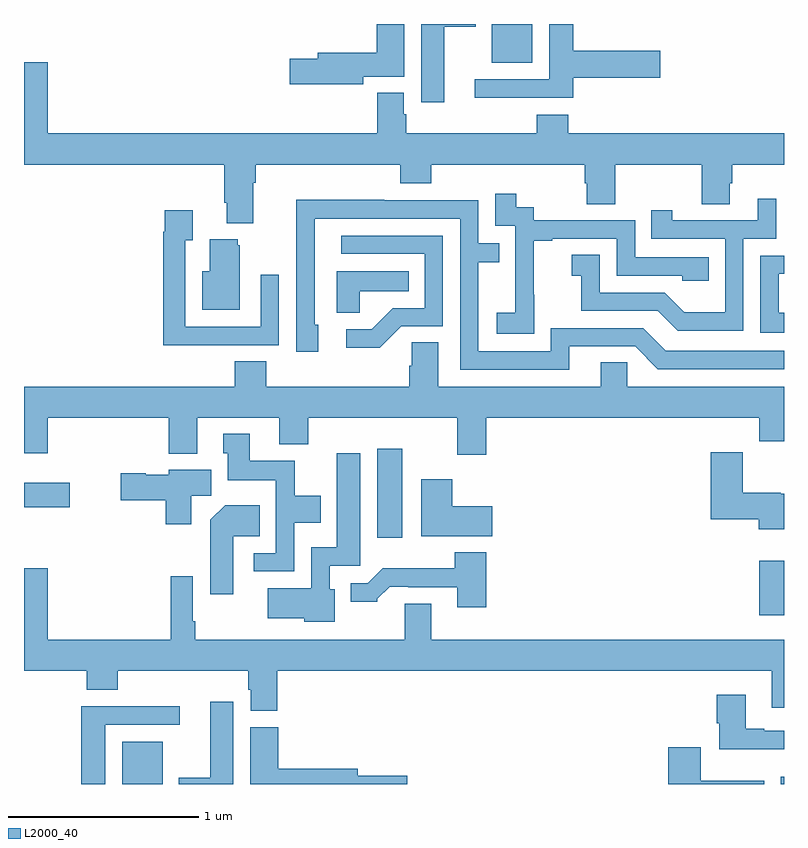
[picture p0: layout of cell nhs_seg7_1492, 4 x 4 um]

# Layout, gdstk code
import gdstk
lib = gdstk.Library(unit=1e-6, precision=1e-09)
def R(c, l, rs):  # rectangles x0, y0, x1, y1
    for r in rs: c.add(gdstk.rectangle(r[:2], r[2:], *l))
def P(c, l, *ps):  # polygons
    for p in ps: c.add(gdstk.Polygon(p, *l))
L2000_40 = (2000, 40)

nhs_seg7_1492 = lib.new_cell('nhs_seg7_1492')
R(nhs_seg7_1492, L2000_40, [(213.518,1020,213.73,1020.223), (216.983,1020,217,1020.037), (216.869,1020.888,217,1021.174), (214.859,1021.296,214.99,1021.765), (213,1021.456,213.241,1021.585), (215.462,1023.797,215.674,1024)])
P(nhs_seg7_1492, L2000_40, [(215.212,1023.986),(215.377,1023.986),(215.377,1024),(215.09,1024),(215.09,1023.588),(215.212,1023.588)],
  [(214.786,1023.722),(215.002,1023.722),(215.002,1024),(214.856,1024),(214.856,1023.848),(214.547,1023.848),(214.547,1023.818),(214.398,1023.818),(214.398,1023.683),(214.786,1023.683)],
  [(215.891,1023.718),(216.349,1023.718),(216.349,1023.86),(215.891,1023.86),(215.891,1024),(215.765,1024),(215.765,1023.708),(215.373,1023.708),(215.373,1023.611),(215.891,1023.611)],
  [(215.699,1023.523),(215.699,1023.424),(215.012,1023.424),(215.012,1023.525),(214.999,1023.525),(214.999,1023.637),(214.859,1023.637),(214.859,1023.424),(213.124,1023.424),(213.124,1023.799),(213,1023.799),(213,1023.26),(214.055,1023.26),(214.055,1023.058),(214.067,1023.058),(214.067,1022.951),(214.207,1022.951),(214.207,1023.164),(214.22,1023.164),(214.22,1023.26),(214.979,1023.26),(214.979,1023.161),(215.144,1023.161),(215.144,1023.26),(215.951,1023.26),(215.951,1023.162),(215.963,1023.162),(215.963,1023.052),(216.111,1023.052),(216.111,1023.26),(216.568,1023.26),(216.568,1023.052),(216.715,1023.052),(216.715,1023.162),(216.728,1023.162),(216.728,1023.26),(217,1023.26),(217,1023.424),(215.864,1023.424),(215.864,1023.523)],
  [(215.685,1022.575),(215.684,1022.575),(215.684,1022.859),(215.779,1022.859),(215.779,1022.871),(216.12,1022.871),(216.12,1022.676),(216.465,1022.676),(216.465,1022.649),(216.605,1022.649),(216.605,1022.772),(216.216,1022.772),(216.216,1022.967),(215.682,1022.967),(215.682,1023.036),(215.59,1023.036),(215.59,1023.106),(215.481,1023.106),(215.481,1022.937),(215.586,1022.937),(215.586,1022.708),(215.585,1022.708),(215.585,1022.479),(215.487,1022.479),(215.487,1022.369),(215.685,1022.369)],
  [(216.786,1022.871),(216.96,1022.871),(216.96,1023.079),(216.863,1023.079),(216.863,1022.967),(216.412,1022.967),(216.412,1023.019),(216.301,1023.019),(216.301,1022.871),(216.69,1022.871),(216.69,1022.482),(216.476,1022.482),(216.372,1022.586),(216.03,1022.586),(216.03,1022.785),(215.883,1022.785),(215.883,1022.675),(215.932,1022.675),(215.932,1022.49),(216.335,1022.49),(216.44,1022.385),(216.786,1022.385)],
  [(215.869,1022.304),(216.216,1022.304),(216.336,1022.184),(217,1022.184),(217,1022.28),(216.378,1022.28),(216.258,1022.4),(215.772,1022.4),(215.772,1022.277),(215.391,1022.277),(215.391,1022.746),(215.501,1022.746),(215.501,1022.847),(215.391,1022.847),(215.391,1023.072),(214.895,1023.072),(214.895,1023.074),(214.432,1023.074),(214.432,1022.767),(214.434,1022.767),(214.434,1022.274),(214.549,1022.274),(214.549,1022.418),(214.53,1022.418),(214.53,1022.976),(215.295,1022.976),(215.295,1022.181),(215.869,1022.181)],
  [(214.025,1022.31),(214.341,1022.31),(214.341,1022.68),(214.245,1022.68),(214.245,1022.406),(213.849,1022.406),(213.849,1022.863),(213.889,1022.863),(213.889,1023.019),(213.741,1023.019),(213.741,1022.906),(213.733,1022.906),(213.733,1022.309),(214.025,1022.309)],
  [(214.986,1022.409),(215.205,1022.409),(215.205,1022.886),(214.671,1022.886),(214.671,1022.79),(215.109,1022.79),(215.109,1022.505),(214.94,1022.505),(214.829,1022.394),(214.695,1022.394),(214.695,1022.297),(214.873,1022.297)],
  [(214.135,1022.835),(214.124,1022.835),(214.124,1022.866),(213.977,1022.866),(213.977,1022.698),(213.938,1022.698),(213.938,1022.495),(214.135,1022.495)],
  [(217,1022.481),(216.973,1022.481),(216.973,1022.685),(217,1022.685),(217,1022.781),(216.876,1022.781),(216.876,1022.376),(217,1022.376)],
  [(214.767,1022.594),(215.024,1022.594),(215.024,1022.698),(214.646,1022.698),(214.646,1022.479),(214.767,1022.479)],
  [(215.432,1021.928),(216.869,1021.928),(216.869,1021.804),(217,1021.804),(217,1022.092),(216.174,1022.092),(216.174,1022.219),(216.035,1022.219),(216.035,1022.092),(215.179,1022.092),(215.179,1022.324),(215.04,1022.324),(215.04,1022.201),(215.027,1022.201),(215.027,1022.092),(214.274,1022.092),(214.274,1022.225),(214.109,1022.225),(214.109,1022.092),(213,1022.092),(213,1021.74),(213.124,1021.74),(213.124,1021.928),(213.761,1021.928),(213.761,1021.739),(213.913,1021.739),(213.913,1021.928),(214.343,1021.928),(214.343,1021.787),(214.496,1021.787),(214.496,1021.928),(215.279,1021.928),(215.279,1021.734),(215.432,1021.734)],
  [(214.422,1021.376),(214.561,1021.376),(214.561,1021.516),(214.425,1021.516),(214.425,1021.702),(214.189,1021.702),(214.189,1021.843),(214.049,1021.843),(214.049,1021.74),(214.073,1021.74),(214.073,1021.598),(214.326,1021.598),(214.326,1021.215),(214.209,1021.215),(214.209,1021.119),(214.422,1021.119)],
  [(217,1021.528),(216.984,1021.528),(216.984,1021.534),(216.784,1021.534),(216.784,1021.747),(216.614,1021.747),(216.614,1021.394),(216.866,1021.394),(216.866,1021.34),(217,1021.34)],
  [(214.636,1021.026),(214.608,1021.026),(214.608,1021.149),(214.771,1021.149),(214.771,1021.741),(214.646,1021.741),(214.646,1021.246),(214.512,1021.246),(214.512,1021.03),(214.284,1021.03),(214.284,1020.872),(214.476,1020.872),(214.476,1020.854),(214.636,1020.854)],
  [(213.88,1021.516),(213.985,1021.516),(213.985,1021.654),(213.762,1021.654),(213.762,1021.627),(213.642,1021.627),(213.642,1021.635),(213.51,1021.635),(213.51,1021.493),(213.746,1021.493),(213.746,1021.368),(213.88,1021.368)],
  [(215.464,1021.462),(215.254,1021.462),(215.254,1021.603),(215.09,1021.603),(215.09,1021.304),(215.464,1021.304)],
  [(214.102,1021.304),(214.241,1021.304),(214.241,1021.468),(214.058,1021.468),(213.98,1021.39),(213.98,1020.999),(214.102,1020.999)],
  [(215.432,1021.219),(215.267,1021.219),(215.267,1021.135),(214.888,1021.135),(214.809,1021.056),(214.721,1021.056),(214.721,1020.959),(214.86,1020.959),(214.86,1020.974),(214.924,1021.038),(215.023,1021.038),(215.023,1021.035),(215.279,1021.035),(215.279,1020.93),(215.432,1020.93)],
  [(214.334,1020.596),(216.935,1020.596),(216.935,1020.402),(217,1020.402),(217,1020.76),(215.143,1020.76),(215.143,1020.95),(215.003,1020.95),(215.003,1020.76),(213.901,1020.76),(213.901,1020.856),(213.888,1020.856),(213.888,1021.093),(213.772,1021.093),(213.772,1020.76),(213.124,1020.76),(213.124,1021.135),(213,1021.135),(213,1020.596),(213.329,1020.596),(213.329,1020.497),(213.494,1020.497),(213.494,1020.596),(214.181,1020.596),(214.181,1020.495),(214.193,1020.495),(214.193,1020.385),(214.334,1020.385)],
  [(217,1020.279),(216.895,1020.279),(216.895,1020.292),(216.799,1020.292),(216.799,1020.469),(216.647,1020.469),(216.647,1020.321),(216.659,1020.321),(216.659,1020.182),(217,1020.182)],
  [(214.102,1020.433),(213.98,1020.433),(213.98,1020.034),(213.815,1020.034),(213.815,1020),(214.102,1020)],
  [(213.427,1020.312),(213.82,1020.312),(213.82,1020.41),(213.302,1020.41),(213.302,1020),(213.427,1020)],
  [(215.017,1020.044),(214.756,1020.044),(214.756,1020.08),(214.337,1020.08),(214.337,1020.3),(214.19,1020.3),(214.19,1020),(215.017,1020)],
  [(216.895,1020.016),(216.562,1020.016),(216.562,1020.193),(216.392,1020.193),(216.392,1020),(216.895,1020)])

lib.write_gds('nhs_seg7_1492.gds')
